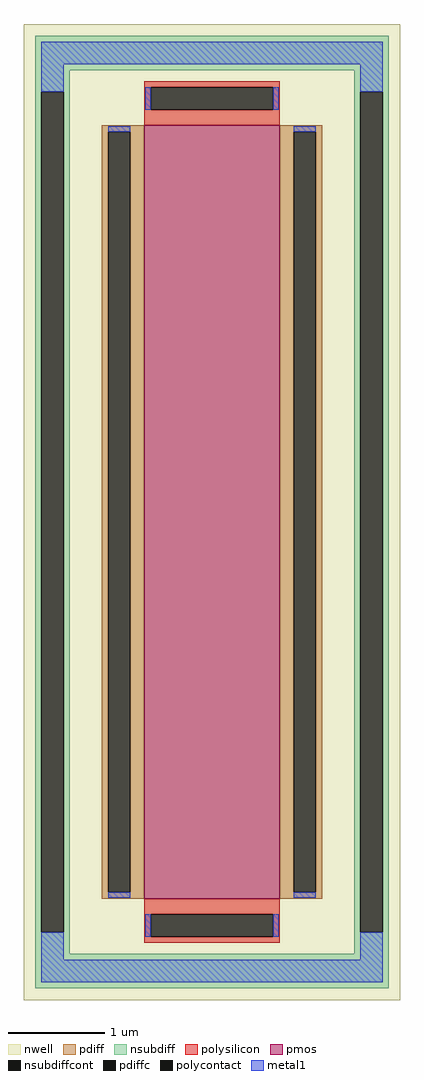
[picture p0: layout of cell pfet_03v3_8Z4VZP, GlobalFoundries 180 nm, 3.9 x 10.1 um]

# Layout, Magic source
magic
tech gf180mcuD
magscale 1 10
<< nwell >>
rect -390 -1010 390 1010
<< pmos >>
rect -140 -800 140 800
<< pdiff >>
rect -228 787 -140 800
rect -228 -787 -215 787
rect -169 -787 -140 787
rect -228 -800 -140 -787
rect 140 787 228 800
rect 140 -787 169 787
rect 215 -787 228 787
rect 140 -800 228 -787
<< pdiffc >>
rect -215 -787 -169 787
rect 169 -787 215 787
<< nsubdiff >>
rect -366 914 366 986
rect -366 870 -294 914
rect -366 -870 -353 870
rect -307 -870 -294 870
rect 294 870 366 914
rect -366 -914 -294 -870
rect 294 -870 307 870
rect 353 -870 366 870
rect 294 -914 366 -870
rect -366 -986 366 -914
<< nsubdiffcont >>
rect -353 -870 -307 870
rect 307 -870 353 870
<< polysilicon >>
rect -140 879 140 892
rect -140 833 -127 879
rect 127 833 140 879
rect -140 800 140 833
rect -140 -833 140 -800
rect -140 -879 -127 -833
rect 127 -879 140 -833
rect -140 -892 140 -879
<< polycontact >>
rect -127 833 127 879
rect -127 -879 127 -833
<< metal1 >>
rect -353 927 353 973
rect -353 870 -307 927
rect -138 833 -127 879
rect 127 833 138 879
rect 307 870 353 927
rect -215 787 -169 798
rect -215 -798 -169 -787
rect 169 787 215 798
rect 169 -798 215 -787
rect -353 -927 -307 -870
rect -138 -879 -127 -833
rect 127 -879 138 -833
rect 307 -927 353 -870
rect -353 -973 353 -927
<< properties >>
string FIXED_BBOX -330 -950 330 950
string gencell pfet_03v3
string library gf180mcu
string parameters w 8.0 l 1.4 m 1 nf 1 diffcov 100 polycov 100 guard 1 glc 1 grc 1 gtc 0 gbc 0 tbcov 100 rlcov 100 topc 1 botc 1 poverlap 0 doverlap 1 lmin 0.28 wmin 0.22 class mosfet full_metal 1 compatible {pfet_03v3 pfet_05v0 pfet_06v0}
<< end >>
